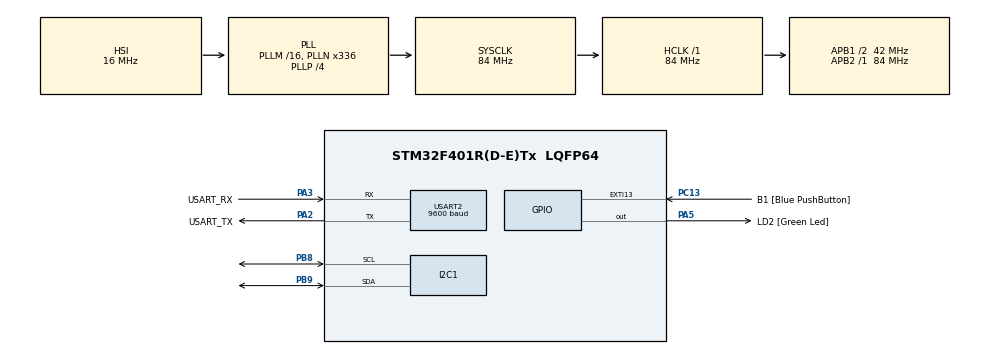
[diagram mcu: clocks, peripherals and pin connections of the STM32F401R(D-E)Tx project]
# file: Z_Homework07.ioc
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Mcu.Family=STM32F4
Mcu.Name=STM32F401R(D-E)Tx
Mcu.Package=LQFP64
NVIC.PriorityGroup=NVIC_PRIORITYGROUP_4
NVIC.TIM2_IRQn=true\:0\:0\:false\:false\:true\:true\:true\:true
PA13.GPIO_Label=TMS
PA13.Mode=Trace_Asynchronous_SW
PA13.Signal=SYS_JTMS-SWDIO
PA14.GPIO_Label=TCK
PA14.Mode=Trace_Asynchronous_SW
PA14.Signal=SYS_JTCK-SWCLK
PA2.GPIO_Label=USART_TX
PA2.GPIO_Mode=GPIO_MODE_AF_PP
PA2.GPIO_PuPd=GPIO_NOPULL
PA2.GPIO_Speed=GPIO_SPEED_FREQ_LOW
PA2.Mode=Asynchronous
PA2.Signal=USART2_TX
PA3.GPIO_Label=USART_RX
PA3.GPIO_Mode=GPIO_MODE_AF_PP
PA3.GPIO_PuPd=GPIO_NOPULL
PA3.GPIO_Speed=GPIO_SPEED_FREQ_LOW
PA3.Mode=Asynchronous
PA3.Signal=USART2_RX
PA5.GPIO_Label=LD2 [Green Led]
PA5.GPIO_Mode=GPIO_MODE_OUTPUT_PP
PA5.GPIO_PuPd=GPIO_NOPULL
PA5.GPIO_Speed=GPIO_SPEED_FREQ_LOW
PA5.Signal=GPIO_Output
PB3.GPIO_Label=SWO
PB3.Mode=Trace_Asynchronous_SW
PB3.Signal=SYS_JTDO-SWO
PB8.Mode=I2C
PB8.Signal=I2C1_SCL
PB9.Mode=I2C
PB9.Signal=I2C1_SDA
PC13-ANTI_TAMP.GPIO_Label=B1 [Blue PushButton]
PC13-ANTI_TAMP.GPIO_ModeDefaultEXTI=GPIO_MODE_IT_FALLING
PC13-ANTI_TAMP.GPIO_PuPd=GPIO_NOPULL
PC13-ANTI_TAMP.Signal=GPXTI13
PC14-OSC32_IN.Mode=LSE-External-Oscillator
PC14-OSC32_IN.Signal=RCC_OSC32_IN
PC15-OSC32_OUT.Mode=LSE-External-Oscillator
PC15-OSC32_OUT.Signal=RCC_OSC32_OUT
PH0\ -\ OSC_IN.Mode=HSE-External-Clock-Source
PH0\ -\ OSC_IN.Signal=RCC_OSC_IN
PH1\ -\ OSC_OUT.Mode=HSE-External-Clock-Source
PH1\ -\ OSC_OUT.Signal=RCC_OSC_OUT
ProjectManager.HeapSize=0x200
ProjectManager.StackSize=0x400
ProjectManager.TargetToolchain=STM32CubeIDE
RCC.48MHZClocksFreq_Value=48000000
RCC.AHBFreq_Value=84000000
RCC.APB1CLKDivider=RCC_HCLK_DIV2
RCC.APB1Freq_Value=42000000
RCC.APB1TimFreq_Value=84000000
RCC.APB2Freq_Value=84000000
RCC.APB2TimFreq_Value=84000000
RCC.CortexFreq_Value=84000000
RCC.HCLKFreq_Value=84000000
RCC.HSE_VALUE=8000000
RCC.HSI_VALUE=16000000
RCC.PLLN=336
RCC.PLLP=RCC_PLLP_DIV4
RCC.PLLQ=7
RCC.SYSCLKFreq_VALUE=84000000
RCC.SYSCLKSource=RCC_SYSCLKSOURCE_PLLCLK
RCC.VCOOutputFreq_Value=336000000
TIM2.Period=9999
TIM2.Prescaler=8399
USART2.BaudRate=9600
USART2.VirtualMode=VM_ASYNC
VP_TIM2_VS_ClockSourceINT.Mode=Internal
board=NUCLEO-F401RE

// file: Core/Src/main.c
/* USER CODE BEGIN Header */
/**
  ******************************************************************************
  * @file           : main.c
  * @brief          : Main program body
  ******************************************************************************
  * @attention
  *
  * Copyright (c) 2025 STMicroelectronics.
  * All rights reserved.
  *
  * This software is licensed under terms that can be found in the LICENSE file
  * in the root directory of this software component.
  * If no LICENSE file comes with this software, it is provided AS-IS.
  *
  ******************************************************************************
  */
/* USER CODE END Header */
#include "main.h"

I2C_HandleTypeDef hi2c1;

TIM_HandleTypeDef htim2;

UART_HandleTypeDef huart2;

/* USER CODE BEGIN PV */
uint8_t LM75_ADDRESS = 0b10010000;
uint8_t LM75_TEMP_ADDRESS = 0x00;
int USART_send_flag = 0;
/* USER CODE END PV */

void SystemClock_Config(void);
static void MX_GPIO_Init(void);
static void MX_USART2_UART_Init(void);
static void MX_I2C1_Init(void);
static void MX_TIM2_Init(void);

/* USER CODE BEGIN 0 */
void HAL_TIM_PeriodElapsedCallback(TIM_HandleTypeDef *htim)
{
	if (htim == &htim2){
		USART_send_flag = 1;
	}
}
/* USER CODE END 0 */

int main(void)
{

  /* MCU Configuration--------------------------------------------------------*/

  /* Reset of all peripherals, Initializes the Flash interface and the Systick. */
  HAL_Init();

  /* Configure the system clock */
  SystemClock_Config();

  /* Initialize all configured peripherals */
  MX_GPIO_Init();
  MX_USART2_UART_Init();
  MX_I2C1_Init();
  MX_TIM2_Init();
  /* USER CODE BEGIN 2 */
  HAL_TIM_Base_Start_IT(&htim2);

  /* USER CODE END 2 */

  /* Infinite loop */
  /* USER CODE BEGIN WHILE */
  while (1)
  {
	  if(USART_send_flag){
	  USART_send_flag = 0;
	  uint8_t temperature[2];
	  int len = 0;
	  char str[32];
	  int lentest = 0;
	  char strtest[32];

	  uint8_t testdata[][2]={
			  {0x0C, 0x80},
			  {0x00, 0x20},
			  {0xE3, 0x80},
			  {0xC9, 0x00},
	  };

	  for(int i = 0; i<4; i++){
		  uint8_t msb=testdata[i][0];
		  uint8_t lsb=testdata[i][1];
		  int16_t temptest = (msb << 8) | lsb;
		  temptest >>= 5;

		  float risultatotest = temptest*0.125f;
	  		  lentest = snprintf(strtest, sizeof(strtest), "Temperature test: %.3f C\r\n", risultatotest);
	  	  HAL_UART_Transmit(&huart2, strtest, lentest, 100);
	  }

	  if(HAL_I2C_Master_Receive(&hi2c1, LM75_ADDRESS+1, temperature, 2, 100)== HAL_OK){
		  //uint8_t msb = temperature[0];
		  //uint8_t lsb = temperature[1];
		 // float temperature = msb + ((lsb>>7)*0.5f);
		  int16_t temp = (temperature[0] << 8) | temperature[1];
		  temp >>= 5;
		  if (temp & 0x0400){
			  temp |= 0xF800;
		  }
		  float risultato = temp*0.125f;
	  		  len = snprintf(str, sizeof(str), "Temperature: %.3f C\r\n", risultato);
	  	  }else{
	  		  len = snprintf(str, sizeof(str), "Error reading from LM75\r\n");
	  	  }

		  HAL_UART_Transmit(&huart2, str, len, 100);
	  }
    /* USER CODE END WHILE */

  }
}

void SystemClock_Config(void)
{
  RCC_OscInitTypeDef RCC_OscInitStruct = {0};
  RCC_ClkInitTypeDef RCC_ClkInitStruct = {0};

  /** Configure the main internal regulator output voltage
  */
  __HAL_RCC_PWR_CLK_ENABLE();
  __HAL_PWR_VOLTAGESCALING_CONFIG(PWR_REGULATOR_VOLTAGE_SCALE2);

  /** Initializes the RCC Oscillators according to the specified parameters
  * in the RCC_OscInitTypeDef structure.
  */
  RCC_OscInitStruct.OscillatorType = RCC_OSCILLATORTYPE_HSI;
  RCC_OscInitStruct.HSIState = RCC_HSI_ON;
  RCC_OscInitStruct.HSICalibrationValue = RCC_HSICALIBRATION_DEFAULT;
  RCC_OscInitStruct.PLL.PLLState = RCC_PLL_ON;
  RCC_OscInitStruct.PLL.PLLSource = RCC_PLLSOURCE_HSI;
  RCC_OscInitStruct.PLL.PLLM = 16;
  RCC_OscInitStruct.PLL.PLLN = 336;
  RCC_OscInitStruct.PLL.PLLP = RCC_PLLP_DIV4;
  RCC_OscInitStruct.PLL.PLLQ = 7;
  if (HAL_RCC_OscConfig(&RCC_OscInitStruct) != HAL_OK)
  {
    Error_Handler();
  }

  /** Initializes the CPU, AHB and APB buses clocks
  */
  RCC_ClkInitStruct.ClockType = RCC_CLOCKTYPE_HCLK|RCC_CLOCKTYPE_SYSCLK
                              |RCC_CLOCKTYPE_PCLK1|RCC_CLOCKTYPE_PCLK2;
  RCC_ClkInitStruct.SYSCLKSource = RCC_SYSCLKSOURCE_PLLCLK;
  RCC_ClkInitStruct.AHBCLKDivider = RCC_SYSCLK_DIV1;
  RCC_ClkInitStruct.APB1CLKDivider = RCC_HCLK_DIV2;
  RCC_ClkInitStruct.APB2CLKDivider = RCC_HCLK_DIV1;

  if (HAL_RCC_ClockConfig(&RCC_ClkInitStruct, FLASH_LATENCY_2) != HAL_OK)
  {
    Error_Handler();
  }
}

static void MX_I2C1_Init(void)
{

  hi2c1.Instance = I2C1;
  hi2c1.Init.ClockSpeed = 100000;
  hi2c1.Init.DutyCycle = I2C_DUTYCYCLE_2;
  hi2c1.Init.OwnAddress1 = 0;
  hi2c1.Init.AddressingMode = I2C_ADDRESSINGMODE_7BIT;
  hi2c1.Init.DualAddressMode = I2C_DUALADDRESS_DISABLE;
  hi2c1.Init.OwnAddress2 = 0;
  hi2c1.Init.GeneralCallMode = I2C_GENERALCALL_DISABLE;
  hi2c1.Init.NoStretchMode = I2C_NOSTRETCH_DISABLE;
  if (HAL_I2C_Init(&hi2c1) != HAL_OK)
  {
    Error_Handler();
  }

}

static void MX_TIM2_Init(void)
{

  TIM_ClockConfigTypeDef sClockSourceConfig = {0};
  TIM_MasterConfigTypeDef sMasterConfig = {0};

  htim2.Instance = TIM2;
  htim2.Init.Prescaler = 8399;
  htim2.Init.CounterMode = TIM_COUNTERMODE_UP;
  htim2.Init.Period = 9999;
  htim2.Init.ClockDivision = TIM_CLOCKDIVISION_DIV1;
  htim2.Init.AutoReloadPreload = TIM_AUTORELOAD_PRELOAD_DISABLE;
  if (HAL_TIM_Base_Init(&htim2) != HAL_OK)
  {
    Error_Handler();
  }
  sClockSourceConfig.ClockSource = TIM_CLOCKSOURCE_INTERNAL;
  if (HAL_TIM_ConfigClockSource(&htim2, &sClockSourceConfig) != HAL_OK)
  {
    Error_Handler();
  }
  sMasterConfig.MasterOutputTrigger = TIM_TRGO_RESET;
  sMasterConfig.MasterSlaveMode = TIM_MASTERSLAVEMODE_DISABLE;
  if (HAL_TIMEx_MasterConfigSynchronization(&htim2, &sMasterConfig) != HAL_OK)
  {
    Error_Handler();
  }

}

static void MX_USART2_UART_Init(void)
{

  huart2.Instance = USART2;
  huart2.Init.BaudRate = 9600;
  huart2.Init.WordLength = UART_WORDLENGTH_8B;
  huart2.Init.StopBits = UART_STOPBITS_1;
  huart2.Init.Parity = UART_PARITY_NONE;
  huart2.Init.Mode = UART_MODE_TX_RX;
  huart2.Init.HwFlowCtl = UART_HWCONTROL_NONE;
  huart2.Init.OverSampling = UART_OVERSAMPLING_16;
  if (HAL_UART_Init(&huart2) != HAL_OK)
  {
    Error_Handler();
  }

}

static void MX_GPIO_Init(void)
{
  GPIO_InitTypeDef GPIO_InitStruct = {0};

  /* GPIO Ports Clock Enable */
  __HAL_RCC_GPIOC_CLK_ENABLE();
  __HAL_RCC_GPIOH_CLK_ENABLE();
  __HAL_RCC_GPIOA_CLK_ENABLE();
  __HAL_RCC_GPIOB_CLK_ENABLE();

  /*Configure GPIO pin Output Level */
  HAL_GPIO_WritePin(LD2_GPIO_Port, LD2_Pin, GPIO_PIN_RESET);

  /*Configure GPIO pin : B1_Pin */
  GPIO_InitStruct.Pin = B1_Pin;
  GPIO_InitStruct.Mode = GPIO_MODE_IT_FALLING;
  GPIO_InitStruct.Pull = GPIO_NOPULL;
  HAL_GPIO_Init(B1_GPIO_Port, &GPIO_InitStruct);

  /*Configure GPIO pin : LD2_Pin */
  GPIO_InitStruct.Pin = LD2_Pin;
  GPIO_InitStruct.Mode = GPIO_MODE_OUTPUT_PP;
  GPIO_InitStruct.Pull = GPIO_NOPULL;
  GPIO_InitStruct.Speed = GPIO_SPEED_FREQ_LOW;
  HAL_GPIO_Init(LD2_GPIO_Port, &GPIO_InitStruct);

}

void Error_Handler(void)
{
  __disable_irq();
  while (1)
  {
  }
}
